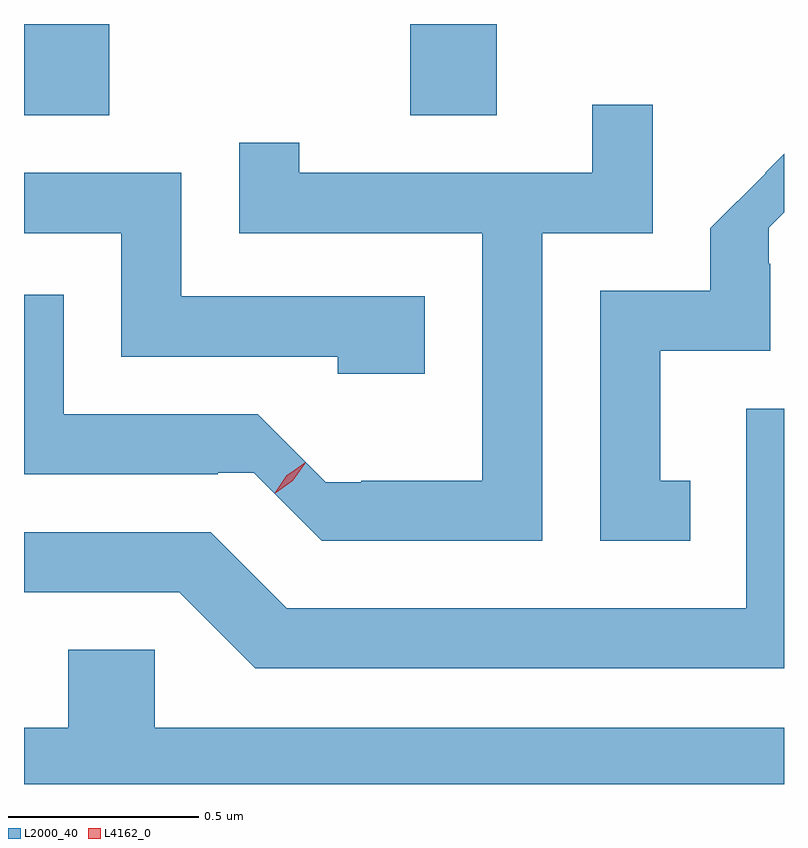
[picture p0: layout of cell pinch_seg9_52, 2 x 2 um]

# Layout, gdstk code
import gdstk
lib = gdstk.Library(unit=1e-6, precision=1e-09)
def R(c, l, rs):  # rectangles x0, y0, x1, y1
    for r in rs: c.add(gdstk.rectangle(r[:2], r[2:], *l))
def P(c, l, *ps):  # polygons
    for p in ps: c.add(gdstk.Polygon(p, *l))
L2000_40 = (2000, 40)
L4162_0 = (4162, 0)

pinch_seg9_52 = lib.new_cell('pinch_seg9_52')
R(pinch_seg9_52, L2000_40, [(648.915,2024.776,649.139,2025.016), (649.931,2024.776,650.159,2025.016)])
P(pinch_seg9_52, L2000_40, [(650.279,2024.466),(650.569,2024.466),(650.569,2024.803),(650.411,2024.803),(650.411,2024.624),(649.639,2024.624),(649.639,2024.703),(649.481,2024.703),(649.481,2024.466),(650.121,2024.466),(650.121,2023.814),(649.803,2023.814),(649.803,2023.81),(649.709,2023.81),(649.53,2023.989),(649.019,2023.989),(649.019,2024.304),(648.915,2024.304),(648.915,2023.831),(649.425,2023.831),(649.425,2023.835),(649.52,2023.835),(649.699,2023.656),(650.279,2023.656)],
  [(650.668,2023.814),(650.589,2023.814),(650.589,2024.156),(650.879,2024.156),(650.879,2024.385),(650.875,2024.385),(650.875,2024.48),(650.915,2024.52),(650.915,2024.675),(650.865,2024.625),(650.867,2024.623),(650.721,2024.478),(650.721,2024.314),(650.431,2024.314),(650.431,2023.656),(650.668,2023.656)],
  [(649.969,2024.299),(649.329,2024.299),(649.329,2024.624),(648.915,2024.624),(648.915,2024.466),(649.171,2024.466),(649.171,2024.141),(649.741,2024.141),(649.741,2024.096),(649.969,2024.096)],
  [(650.915,2024.004),(650.816,2024.004),(650.816,2023.479),(649.607,2023.479),(649.407,2023.679),(648.915,2023.679),(648.915,2023.521),(649.324,2023.521),(649.524,2023.321),(650.915,2023.321)],
  [(650.915,2023.164),(649.259,2023.164),(649.259,2023.369),(649.031,2023.369),(649.031,2023.164),(648.915,2023.164),(648.915,2023.016),(650.915,2023.016)])
P(pinch_seg9_52, L4162_0, [(649.577,2023.784),(649.577,2023.785),(649.607,2023.828),(649.651,2023.858),(649.652,2023.858),(649.652,2023.858),(649.622,2023.814),(649.578,2023.784)],
  [(649.575,2023.781),(649.575,2023.781),(649.608,2023.828),(649.654,2023.861),(649.655,2023.861),(649.655,2023.86),(649.622,2023.814),(649.576,2023.781)])

lib.write_gds('pinch_seg9_52.gds')
